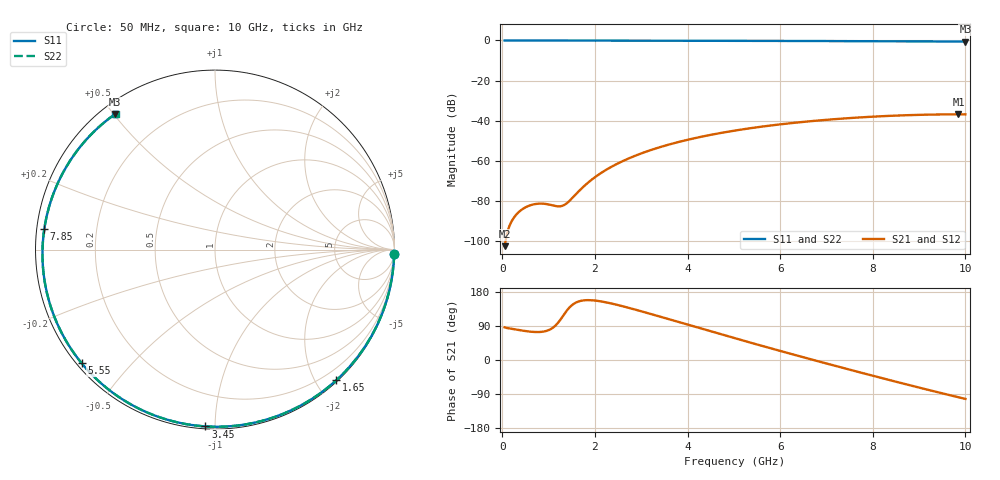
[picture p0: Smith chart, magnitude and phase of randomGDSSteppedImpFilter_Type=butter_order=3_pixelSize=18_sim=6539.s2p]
! freq	dB(S11)	phase(S11)	dB(S12)	phase(S12)
!  dB(S21)	phase(S21)	dB(S22)	phase(S22)
!S-par simulation data
#  GHz  S  DB  R 50
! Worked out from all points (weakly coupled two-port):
!   200 points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, 50 MHz to 10 GHz, reference 50 ohm
!   highest |S21| = -36.84 dB at 9.85 GHz (marker M1); lowest = -102.5 dB at 50 MHz (marker M2)
!   lowest |S11| = -0.6 dB at 10 GHz (marker M3), VSWR 31.27, Z = 2.01 + j25.3 ohm
!   |S11| at or under -10 dB: nowhere
!   |S22| runs from -0.6 to 0.0 dB; largest |S21 - S12| = 0
!   S11 on the Smith chart (normalised r, x): 50 MHz: 3, -81; 1.65 GHz: 0.02, -2.30; 3.45 GHz: 0.01, -0.95; 5.55 GHz: 0.01, -0.37; 7.85 GHz: 0.02, +0.06; 10 GHz: 0.04, +0.51
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0.05  -0.01 -1.4  -102.55 86.2  -102.55 86.2  -0.01 -1.4
0.7  -0.03 -20.3  -81.60 73.9  -81.60 73.9  -0.03 -20.3
1.05  -0.04 -30.3  -81.99 81.8  -81.99 81.8  -0.04 -30.3
1.45  -0.05 -41.5  -79.98 138.6  -79.98 138.6  -0.05 -41.6
1.65  -0.06 -47.1  -75.20 154.5  -75.20 154.5  -0.06 -47.1
1.75  -0.06 -49.8  -72.96 157.2  -72.96 157.2  -0.06 -49.8
2.05  -0.07 -57.8  -67.36 156.2  -67.36 156.2  -0.07 -57.9
2.45  -0.08 -68.3  -61.84 146.4  -61.84 146.4  -0.08 -68.4
2.9  -0.10 -79.7  -57.19 132.0  -57.19 132.0  -0.10 -79.8
3.4  -0.12 -91.9  -53.22 114.7  -53.22 114.7  -0.12 -92.0
3.45  -0.12 -93.1  -52.88 112.9  -52.88 112.9  -0.12 -93.2
4.2  -0.15 -110.5  -48.48 86.3  -48.48 86.3  -0.15 -110.5
5.05  -0.18 -129.1  -44.82 56.5  -44.82 56.5  -0.18 -129.1
5.55  -0.21 -139.6  -43.13 39.3  -43.13 39.3  -0.21 -139.7
6.15  -0.25 -152.0  -41.44 18.9  -41.44 18.9  -0.25 -152.1
6.7  -0.28 -163.3  -40.16 0.6  -40.16 0.6  -0.28 -163.3
7.3  -0.33 -175.5  -39.02 -19.0  -39.02 -19.0  -0.33 -175.5
7.85  -0.37 173.2  -38.19 -36.7  -38.19 -36.7  -0.37 173.1
8.35  -0.41 162.8  -37.60 -52.6  -37.60 -52.6  -0.41 162.7
9.1  -0.48 146.7  -37.03 -75.9  -37.03 -75.9  -0.48 146.6
9.85  -0.54 129.8  -36.84 -98.3  -36.84 -98.3  -0.54 129.7
10  -0.56 126.3  -36.84 -102.6  -36.84 -102.6  -0.56 126.2
